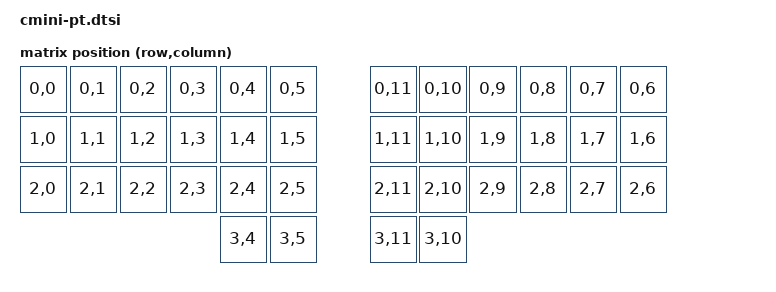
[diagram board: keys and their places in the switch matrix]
#include <dt-bindings/zmk/matrix_transform.h>

/ {
    chosen {
        zmk,kscan = &kscan0;
        zmk,matrix-transform = &default_transform;
        zephyr,console = &cdc_acm_uart;
    };

    default_transform: keymap_transform_0 {
        compatible = "zmk,matrix-transform";
        columns = <12>;
        rows = <4>;

        map = <
RC(0,0) RC(0,1) RC(0,2) RC(0,3) RC(0,4) RC(0,5)                   RC(0,11) RC(0,10) RC(0,9) RC(0,8) RC(0,7) RC(0,6)
RC(1,0) RC(1,1) RC(1,2) RC(1,3) RC(1,4) RC(1,5)                   RC(1,11) RC(1,10) RC(1,9) RC(1,8) RC(1,7) RC(1,6)
RC(2,0) RC(2,1) RC(2,2) RC(2,3) RC(2,4) RC(2,5)                   RC(2,11) RC(2,10) RC(2,9) RC(2,8) RC(2,7) RC(2,6)
                                RC(3,4) RC(3,5)                   RC(3,11) RC(3,10)
        >;
    };
};

&usbd {
  status = "okay";
  cdc_acm_uart: cdc_acm_uart {
    compatible = "zephyr,cdc-acm-uart";
    label = "CDC_ACM_0";
  };
};




/* IDs must agree across both peripherals and the dongle. Keep the unused
 * split disabled on each peripheral: enabled peripheral splits need a device.
 */
/ {
    split_inputs {
        #address-cells = <1>;
        #size-cells = <0>;

        left_trackball_split: input_split@0 {
            compatible = "zmk,input-split";
            reg = <0>;
            status = "disabled";
        };

        right_trackball_split: input_split@1 {
            compatible = "zmk,input-split";
            reg = <1>;
            status = "disabled";
        };
    };

    left_trackball_listener: left_trackball_listener {
        compatible = "zmk,input-listener";
        device = <&left_trackball_split>;
        status = "disabled";
    };

    right_trackball_listener: right_trackball_listener {
        compatible = "zmk,input-listener";
        device = <&right_trackball_split>;
        status = "disabled";
    };
};
